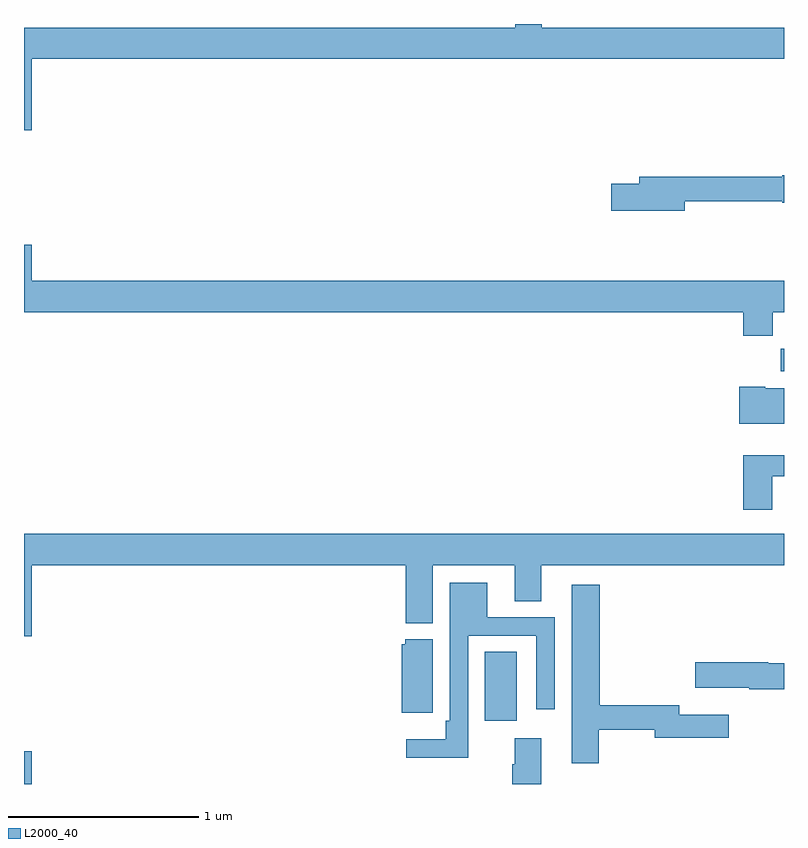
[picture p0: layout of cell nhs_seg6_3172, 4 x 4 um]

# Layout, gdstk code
import gdstk
lib = gdstk.Library(unit=1e-6, precision=1e-09)
def R(c, l, rs):  # rectangles x0, y0, x1, y1
    for r in rs: c.add(gdstk.rectangle(r[:2], r[2:], *l))
def P(c, l, *ps):  # polygons
    for p in ps: c.add(gdstk.Polygon(p, *l))
L2000_40 = (2000, 40)

nhs_seg6_3172 = lib.new_cell('nhs_seg6_3172')
R(nhs_seg6_3172, L2000_40, [(297,963.5,297.04,963.673), (299.426,963.834,299.593,964.196), (300.982,965.672,301,965.791)])
P(nhs_seg6_3172, L2000_40, [(297.04,967.316),(301,967.316),(301,967.48),(299.725,967.48),(299.725,967.5),(299.585,967.5),(299.585,967.48),(297,967.48),(297,966.942),(297.04,966.942)],
  [(300.478,966.567),(300.99,966.567),(300.99,966.559),(301,966.559),(301,966.703),(300.99,966.703),(300.99,966.695),(300.239,966.695),(300.239,966.659),(300.09,966.659),(300.09,966.517),(300.478,966.517)],
  [(300.941,965.984),(301,965.984),(301,966.148),(297.04,966.148),(297.04,966.337),(297,966.337),(297,965.984),(300.785,965.984),(300.785,965.86),(300.941,965.86)],
  [(301,965.584),(300.9,965.584),(300.9,965.59),(300.764,965.59),(300.764,965.396),(301,965.396)],
  [(300.937,965.121),(301,965.121),(301,965.23),(300.785,965.23),(300.785,964.944),(300.937,964.944)],
  [(297.04,964.652),(299.009,964.652),(299.009,964.346),(299.152,964.346),(299.152,964.652),(299.582,964.652),(299.582,964.462),(299.722,964.462),(299.722,964.652),(301,964.652),(301,964.816),(297,964.816),(297,964.278),(297.04,964.278)],
  [(299.337,964.281),(299.697,964.281),(299.697,963.894),(299.793,963.894),(299.793,964.377),(299.437,964.377),(299.437,964.558),(299.241,964.558),(299.241,963.832),(299.221,963.832),(299.221,963.736),(299.013,963.736),(299.013,963.638),(299.337,963.638)],
  [(300.024,963.786),(300.32,963.786),(300.32,963.743),(300.709,963.743),(300.709,963.865),(300.448,963.865),(300.448,963.914),(300.029,963.914),(300.029,964.549),(299.882,964.549),(299.882,963.609),(300.024,963.609)],
  [(299.152,964.261),(299.007,964.261),(299.007,964.236),(298.988,964.236),(298.988,963.875),(299.152,963.875)],
  [(301,964.136),(300.918,964.136),(300.918,964.142),(300.534,964.142),(300.534,964.007),(300.818,964.007),(300.818,964),(301,964)],
  [(299.722,963.742),(299.582,963.742),(299.582,963.605),(299.57,963.605),(299.57,963.5),(299.722,963.5)])

lib.write_gds('nhs_seg6_3172.gds')
